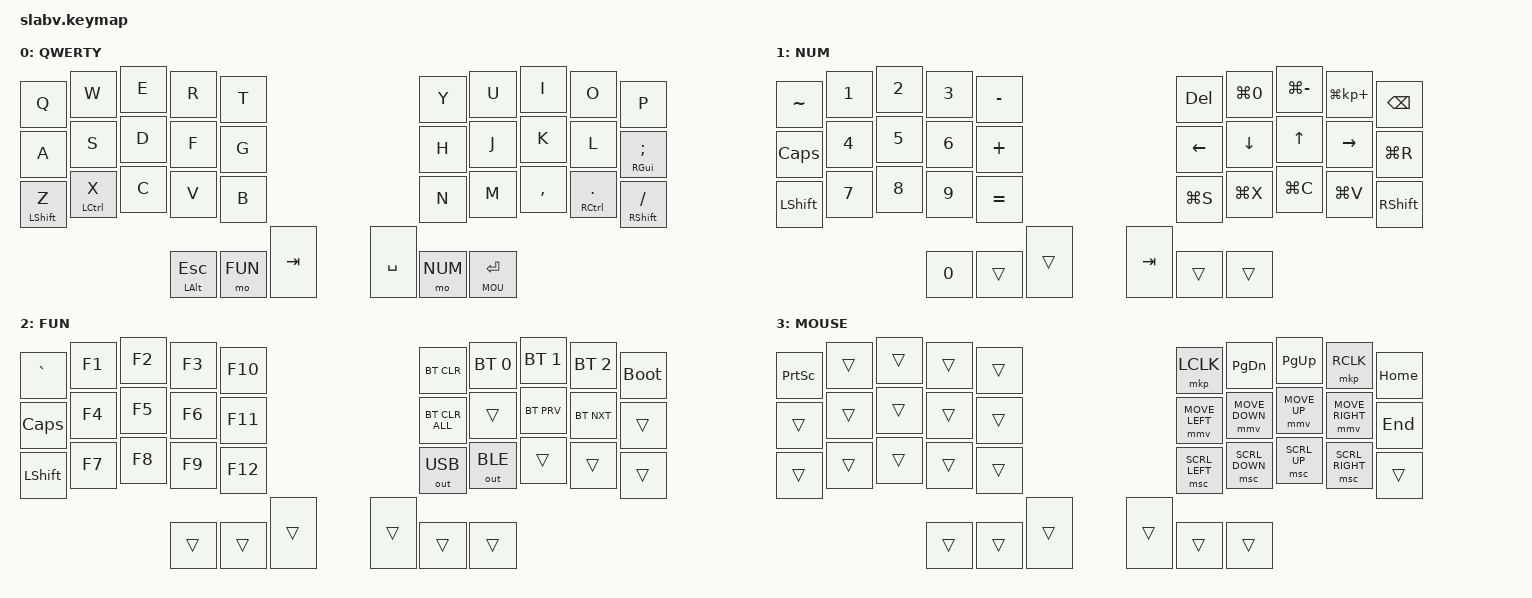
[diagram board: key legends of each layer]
/*
 * daemoncat40 for the slabV (ZMK). Ported from the QMK keymap
 * jtcarrasco/qmk_userspace keyboards/keyboardio/atreus/keymaps/daemoncat40
 * (2026-11-19), minus the Atreus centre cluster (Home/End/PgUp/PgDn;
 * those are still on the mouse layer).
 * Added for wireless: Bluetooth and USB/BLE keys on the FUN layer's right half.
 */

#include <behaviors.dtsi>
#include <dt-bindings/zmk/bt.h>
#include <dt-bindings/zmk/keys.h>
#include <dt-bindings/zmk/outputs.h>
#include <dt-bindings/zmk/pointing.h>

#define QWTY 0
#define NUM  1
#define FUN  2
#define MOU  3

/* Shortcuts (Super, as in the QMK keymap) */
#define SC_CUT   &kp LG(X)
#define SC_COPY  &kp LG(C)
#define SC_PSTE  &kp LG(V)
#define SC_SAVE  &kp LG(S)
#define SC_RFH   &kp LG(R)
#define SC_AC    &kp LG(N0)
#define SC_OUT   &kp LG(MINUS)
#define SC_IN    &kp LG(KP_PLUS)

/* Match QMK's default tap-hold feel (tap unless held past the term). */
&mt {
    flavor = "tap-preferred";
    tapping-term-ms = <200>;
};

&lt {
    flavor = "tap-preferred";
    tapping-term-ms = <200>;
};

/*
 * Key positions:
 *   0  1  2  3  4     5  6  7  8  9
 *  10 11 12 13 14    15 16 17 18 19
 *  20 21 22 23 24    25 26 27 28 29
 *        30 31 32    33 34 35
 */
/ {
    combos {
        compatible = "zmk,combos";
        /* Vertical same-column pairs; 150ms like COMBO_TERM in QMK. */
        combo_del  { timeout-ms = <150>; key-positions = <12 18>; bindings = <&kp DEL>; };
        combo_sqt  { timeout-ms = <150>; key-positions = <19 29>; bindings = <&kp SQT>; };
        combo_dqt  { timeout-ms = <150>; key-positions = <9 19>;  bindings = <&kp DQT>; };
        combo_tild { timeout-ms = <150>; key-positions = <8 18>;  bindings = <&kp TILDE>; };
        combo_grv  { timeout-ms = <150>; key-positions = <18 28>; bindings = <&kp GRAVE>; };
        combo_pipe { timeout-ms = <150>; key-positions = <7 17>;  bindings = <&kp PIPE>; };
        combo_bsls { timeout-ms = <150>; key-positions = <17 27>; bindings = <&kp BSLH>; };
        combo_plus { timeout-ms = <150>; key-positions = <6 16>;  bindings = <&kp PLUS>; };
        combo_eql  { timeout-ms = <150>; key-positions = <16 26>; bindings = <&kp EQUAL>; };
        combo_unds { timeout-ms = <150>; key-positions = <5 15>;  bindings = <&kp UNDER>; };
        combo_mins { timeout-ms = <150>; key-positions = <15 25>; bindings = <&kp MINUS>; };
        combo_lbrc { timeout-ms = <150>; key-positions = <4 14>;  bindings = <&kp LBKT>; };
        combo_rbrc { timeout-ms = <150>; key-positions = <14 24>; bindings = <&kp RBKT>; };
        combo_lcbr { timeout-ms = <150>; key-positions = <3 13>;  bindings = <&kp LBRC>; };
        combo_rcbr { timeout-ms = <150>; key-positions = <13 23>; bindings = <&kp RBRC>; };
        combo_lprn { timeout-ms = <150>; key-positions = <2 12>;  bindings = <&kp LPAR>; };
        combo_rprn { timeout-ms = <150>; key-positions = <12 22>; bindings = <&kp RPAR>; };
        combo_bspc { timeout-ms = <150>; key-positions = <11 24>; bindings = <&kp BSPC>; };
    };

    keymap {
        compatible = "zmk,keymap";

        qwerty {
            display-name = "QWERTY";
            bindings = <
&kp Q           &kp W           &kp E           &kp R    &kp T        &kp Y      &kp U      &kp I         &kp O            &kp P
&kp A           &kp S           &kp D           &kp F    &kp G        &kp H      &kp J      &kp K         &kp L            &mt RGUI SEMI
&mt LSHFT Z     &mt LCTRL X     &kp C           &kp V    &kp B        &kp N      &kp M      &kp COMMA     &mt RCTRL DOT    &mt RSHFT SLASH
                                &mt LALT ESC    &mo FUN  &kp TAB      &kp SPACE  &mo NUM    &lt MOU RET
            >;
        };

        num {
            display-name = "NUM";
            bindings = <
&kp TILDE       &kp N1          &kp N2          &kp N3   &kp MINUS    &kp DEL    SC_AC      SC_OUT        SC_IN            &kp BSPC
&kp CAPS        &kp N4          &kp N5          &kp N6   &kp PLUS     &kp LEFT   &kp DOWN   &kp UP        &kp RIGHT        SC_RFH
&kp LSHFT       &kp N7          &kp N8          &kp N9   &kp EQUAL    SC_SAVE    SC_CUT     SC_COPY       SC_PSTE          &kp RSHFT
                                &kp N0          &trans   &trans       &kp TAB    &trans     &trans
            >;
        };

        fun {
            display-name = "FUN";
            bindings = <
&kp GRAVE       &kp F1          &kp F2          &kp F3   &kp F10      &bt BT_CLR     &bt BT_SEL 0   &bt BT_SEL 1  &bt BT_SEL 2   &bootloader
&kp CAPS        &kp F4          &kp F5          &kp F6   &kp F11      &bt BT_CLR_ALL &trans         &bt BT_PRV    &bt BT_NXT     &trans
&kp LSHFT       &kp F7          &kp F8          &kp F9   &kp F12      &out OUT_USB   &out OUT_BLE   &trans        &trans         &trans
                                &trans          &trans   &trans       &trans         &trans         &trans
            >;
        };

        mouse {
            display-name = "MOUSE";
            bindings = <
&kp PSCRN       &trans          &trans          &trans   &trans       &mkp LCLK       &kp PG_DN       &kp PG_UP     &mkp RCLK        &kp HOME
&trans          &trans          &trans          &trans   &trans       &mmv MOVE_LEFT  &mmv MOVE_DOWN  &mmv MOVE_UP  &mmv MOVE_RIGHT  &kp END
&trans          &trans          &trans          &trans   &trans       &msc SCRL_LEFT  &msc SCRL_DOWN  &msc SCRL_UP  &msc SCRL_RIGHT  &trans
                                &trans          &trans   &trans       &trans          &trans          &trans
            >;
        };
    };
};
